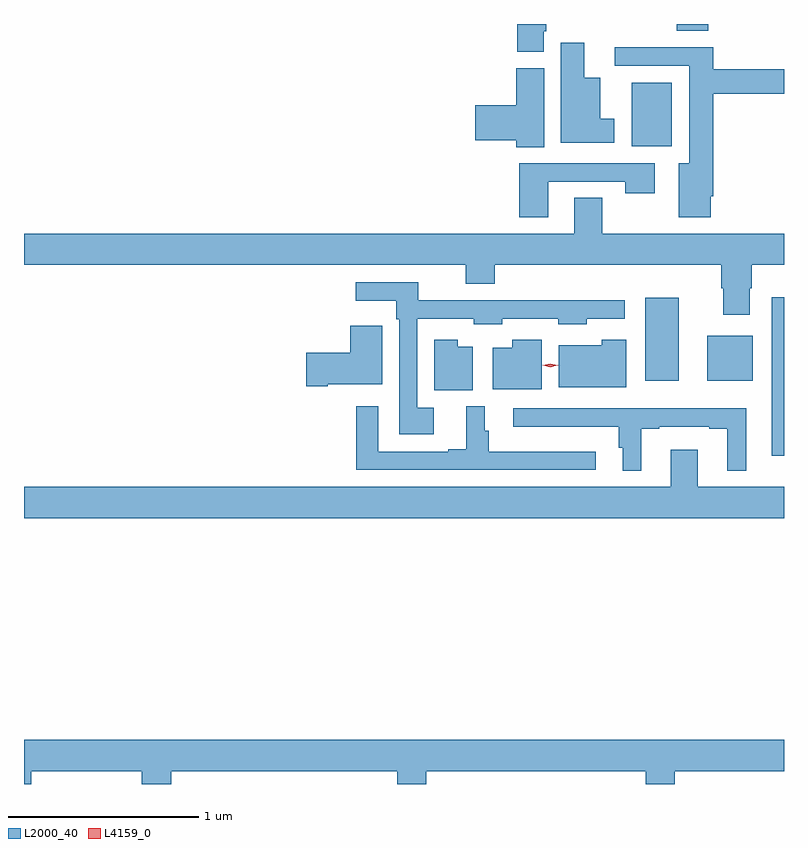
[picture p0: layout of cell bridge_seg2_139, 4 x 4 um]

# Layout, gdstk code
import gdstk
lib = gdstk.Library(unit=1e-6, precision=1e-09)
def R(c, l, rs):  # rectangles x0, y0, x1, y1
    for r in rs: c.add(gdstk.rectangle(r[:2], r[2:], *l))
def P(c, l, *ps):  # polygons
    for p in ps: c.add(gdstk.Polygon(p, *l))
L2000_40 = (2000, 40)
L4159_0 = (4159, 0)

bridge_seg2_139 = lib.new_cell('bridge_seg2_139')
R(bridge_seg2_139, L2000_40, [(579.17,594.684,579.234,595.519), (578.504,595.079,578.68,595.516), (578.831,595.079,579.07,595.315), (578.432,596.312,578.644,596.647), (578.669,596.921,578.834,596.956)])
P(bridge_seg2_139, L2000_40, [(577.969,596.919),(577.982,596.919),(577.982,596.956),(577.829,596.956),(577.829,596.809),(577.969,596.809)],
  [(578.341,596.458),(578.266,596.458),(578.266,596.674),(578.182,596.674),(578.182,596.857),(578.06,596.857),(578.06,596.33),(578.341,596.33)],
  [(578.848,596.05),(578.861,596.05),(578.861,596.59),(579.234,596.59),(579.234,596.719),(578.861,596.719),(578.861,596.834),(578.343,596.834),(578.343,596.736),(578.735,596.736),(578.735,596.224),(578.681,596.224),(578.681,595.938),(578.848,595.938)],
  [(577.972,596.724),(577.826,596.724),(577.826,596.528),(577.608,596.528),(577.608,596.345),(577.826,596.345),(577.826,596.308),(577.972,596.308)],
  [(577.993,596.127),(578.398,596.127),(578.398,596.064),(578.554,596.064),(578.554,596.223),(577.841,596.223),(577.841,595.938),(577.993,595.938)],
  [(579.055,595.565),(579.063,595.565),(579.063,595.688),(579.234,595.688),(579.234,595.852),(578.277,595.852),(578.277,596.042),(578.129,596.042),(578.129,595.852),(575.234,595.852),(575.234,595.688),(577.559,595.688),(577.559,595.589),(577.712,595.589),(577.712,595.688),(578.903,595.688),(578.903,595.565),(578.915,595.565),(578.915,595.425),(579.055,595.425)],
  [(577.39,594.937),(577.305,594.937),(577.305,595.404),(577.602,595.404),(577.602,595.376),(577.752,595.376),(577.752,595.404),(578.046,595.404),(578.046,595.376),(578.196,595.376),(578.196,595.404),(578.395,595.404),(578.395,595.502),(577.308,595.502),(577.308,595.596),(576.981,595.596),(576.981,595.499),(577.193,595.499),(577.193,595.403),(577.209,595.403),(577.209,594.797),(577.39,594.797)],
  [(576.832,595.061),(577.12,595.061),(577.12,595.265),(577.119,595.265),(577.119,595.368),(576.95,595.368),(576.95,595.227),(576.72,595.227),(576.72,595.049),(576.832,595.049)],
  [(577.96,595.294),(577.803,595.294),(577.803,595.252),(577.7,595.252),(577.7,595.034),(577.96,595.034)],
  [(578.404,595.294),(578.275,595.294),(578.275,595.264),(578.048,595.264),(578.048,595.043),(578.404,595.043)],
  [(577.597,595.258),(577.516,595.258),(577.516,595.294),(577.394,595.294),(577.394,595.028),(577.597,595.028)],
  [(578.242,594.706),(577.679,594.706),(577.679,594.816),(577.66,594.816),(577.66,594.943),(577.562,594.943),(577.562,594.718),(577.466,594.718),(577.466,594.705),(577.098,594.705),(577.098,594.943),(576.982,594.943),(576.982,594.609),(578.242,594.609)],
  [(578.482,594.825),(578.578,594.825),(578.578,594.837),(578.84,594.837),(578.84,594.825),(578.936,594.825),(578.936,594.605),(579.034,594.605),(579.034,594.934),(578.508,594.934),(578.508,594.933),(577.809,594.933),(577.809,594.836),(578.365,594.836),(578.365,594.726),(578.384,594.726),(578.384,594.605),(578.482,594.605)],
  [(579.234,594.52),(578.779,594.52),(578.779,594.715),(578.639,594.715),(578.639,594.52),(575.234,594.52),(575.234,594.356),(579.234,594.356)],
  [(575.271,593.024),(575.855,593.024),(575.855,592.956),(576.008,592.956),(576.008,593.024),(577.199,593.024),(577.199,592.956),(577.351,592.956),(577.351,593.024),(578.507,593.024),(578.507,592.956),(578.659,592.956),(578.659,593.024),(579.234,593.024),(579.234,593.188),(575.234,593.188),(575.234,592.956),(575.271,592.956)])
P(bridge_seg2_139, L4159_0, [(578.004,595.149),(577.964,595.159),(577.964,595.159),(577.964,595.159),(578.004,595.169),(578.044,595.159),(578.045,595.159),(578.044,595.159)])

lib.write_gds('bridge_seg2_139.gds')
